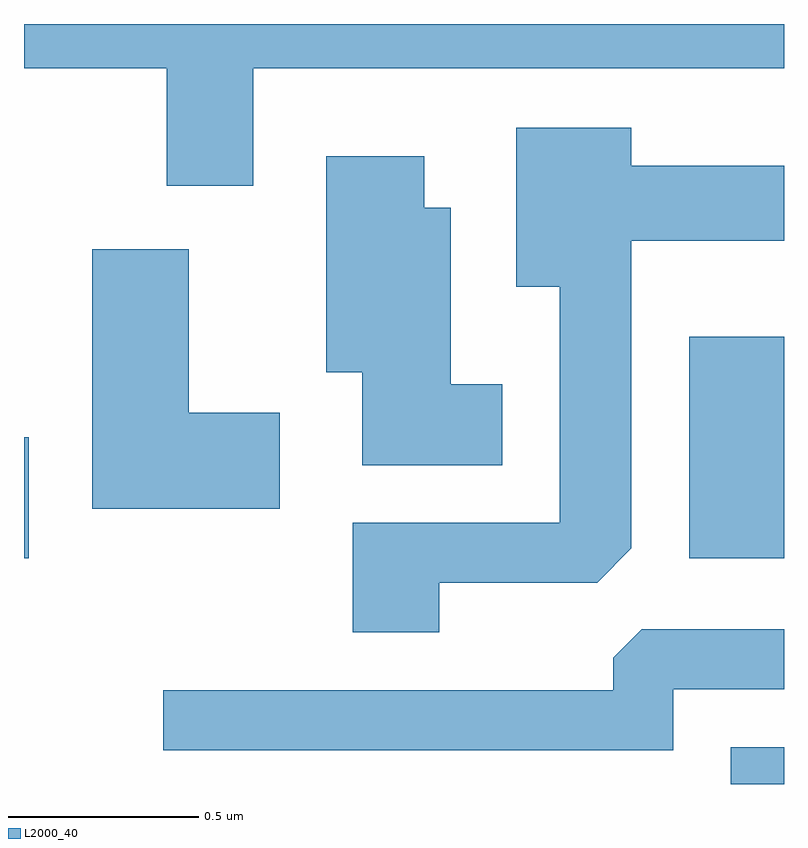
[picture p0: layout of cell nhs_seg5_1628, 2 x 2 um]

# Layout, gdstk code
import gdstk
lib = gdstk.Library(unit=1e-6, precision=1e-09)
def R(c, l, rs):  # rectangles x0, y0, x1, y1
    for r in rs: c.add(gdstk.rectangle(r[:2], r[2:], *l))
def P(c, l, *ps):  # polygons
    for p in ps: c.add(gdstk.Polygon(p, *l))
L2000_40 = (2000, 40)

nhs_seg5_1628 = lib.new_cell('nhs_seg5_1628')
R(nhs_seg5_1628, L2000_40, [(198.471,1517.072,198.611,1517.169), (196.611,1517.666,196.624,1517.984), (198.361,1517.666,198.611,1518.249)])
P(nhs_seg5_1628, L2000_40, [(197.214,1518.956),(198.611,1518.956),(198.611,1519.072),(196.611,1519.072),(196.611,1518.956),(196.986,1518.956),(196.986,1518.646),(197.214,1518.646)],
  [(197.704,1517.601),(198.119,1517.601),(198.209,1517.692),(198.209,1518.501),(198.611,1518.501),(198.611,1518.699),(198.209,1518.699),(198.209,1518.799),(197.906,1518.799),(197.906,1518.381),(198.021,1518.381),(198.021,1517.759),(197.476,1517.759),(197.476,1517.471),(197.704,1517.471)],
  [(197.869,1518.124),(197.734,1518.124),(197.734,1518.589),(197.664,1518.589),(197.664,1518.724),(197.406,1518.724),(197.406,1518.156),(197.501,1518.156),(197.501,1517.911),(197.869,1517.911)],
  [(197.284,1518.049),(197.044,1518.049),(197.044,1518.479),(196.791,1518.479),(196.791,1517.796),(197.284,1517.796)],
  [(198.319,1517.321),(198.611,1517.321),(198.611,1517.479),(198.237,1517.479),(198.161,1517.404),(198.161,1517.319),(196.978,1517.319),(196.978,1517.161),(198.319,1517.161)])

lib.write_gds('nhs_seg5_1628.gds')
